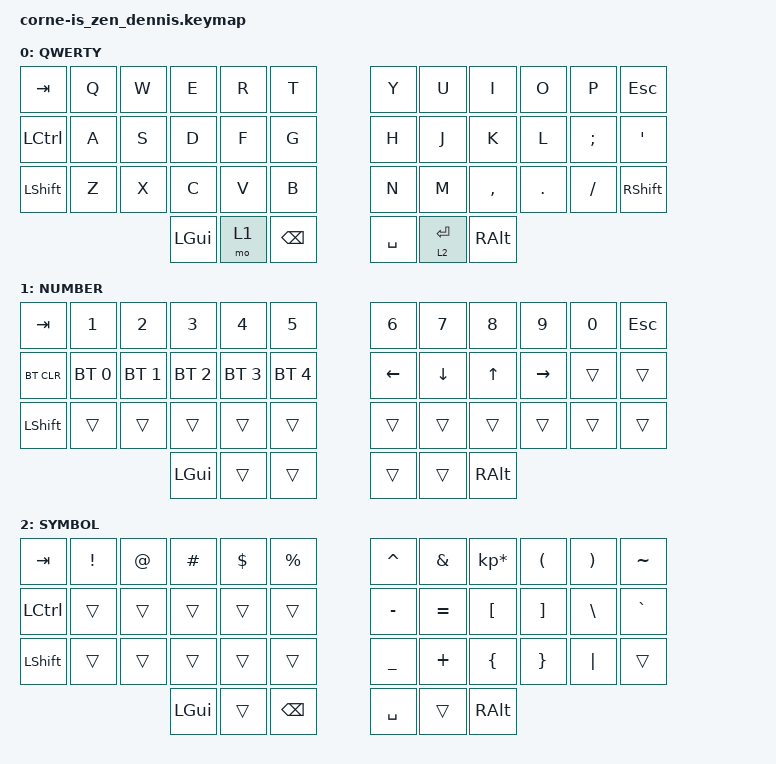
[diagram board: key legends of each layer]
/*
*
* Copyright (c) 2021 Darryl deHaan
* SPDX-License-Identifier: MIT
*
*/

#include <behaviors.dtsi>
#include <dt-bindings/zmk/keys.h>
#include <dt-bindings/zmk/bt.h>
#include <dt-bindings/zmk/outputs.h>


/ {
        combos {
            compatible = "zmk,combos";
            combo_3 {
                timeout-ms = <75>;
                key-positions = <31 32>;
                bindings = <&sl 2>;
            };
            combo_3_right {
                timeout-ms = <75>;
                key-positions = <33 34>;
                bindings = <&sl 2>;
            };
            combo_tab {
                timeout-ms = <75>;
                key-positions = <10 14>;
                bindings = <&kp TAB>;
            };
            combo_esc {
                timeout-ms = <75>;
                key-positions = <0 4>;
                bindings = <&kp ESC>;
                }; 
        };
        keymap {
                compatible = "zmk,keymap";

                default_layer {
                        label = "QWERTY";
// -----------------------------------------------------------------------------------------
// |  TAB |  Q  |  W  |  E  |  R  |  T  |   |  Y  |  U   |  I  |  O  |  P  | BKSP |
// | CTRL |  A  |  S  |  D  |  F  |  G  |   |  H  |  J   |  K  |  L  |  ;  |  '   |
// | SHFT |  Z  |  X  |  C  |  V  |  B  |   |  N  |  M   |  ,  |  .  |  /  | ESC  |
//                    | GUI | LWR | SPC |   | ENT | RSE  | ALT |
                        bindings = <
   &kp TAB   &kp Q &kp W &kp E &kp R &kp T   &kp Y &kp U  &kp I     &kp O   &kp P    &kp ESC
   &kp LCTRL &kp A &kp S &kp D &kp F &kp G   &kp H &kp J  &kp K     &kp L   &kp SEMI &kp SQT
   &kp LSHFT &kp Z &kp X &kp C &kp V &kp B   &kp N &kp M  &kp COMMA &kp DOT &kp FSLH &kp RSHFT
                  &kp LGUI &mo 1 &kp BSPC   &kp SPACE &lt 2 RET &kp RALT
                        >;
                };
                lower_layer {
                        label = "NUMBER";
// -----------------------------------------------------------------------------------------
// |  TAB |  1  |  2  |  3  |  4  |  5  |   |  6  |  7  |  8  |  9  |  0  | BKSP |
// | BTCLR| BT1 | BT2 | BT3 | BT4 | BT5 |   | LFT | DWN |  UP | RGT |     |      |
// | SHFT |     |     |     |     |     |   |     |     |     |     |     |      |
//                    | GUI |     | SPC |   | ENT |     | ALT |
                        bindings = <
   &kp TAB    &kp N1       &kp N2       &kp N3       &kp N4       &kp N5         &kp N6   &kp N7   &kp N8 &kp N9    &kp N0 &kp ESC
   &bt BT_CLR &bt BT_SEL 0 &bt BT_SEL 1 &bt BT_SEL 2 &bt BT_SEL 3 &bt BT_SEL 4   &kp LEFT &kp DOWN &kp UP &kp RIGHT &trans &trans
   &kp LSHFT  &trans       &trans       &trans       &trans       &trans         &trans   &trans   &trans &trans    &trans &trans
                          	        &kp LGUI     &trans       &trans         &trans  &trans   &kp RALT
                        >;
                };

                raise_layer {
                        label = "SYMBOL";
// -----------------------------------------------------------------------------------------
// |  TAB |  !  |  @  |  #  |  $  |  %  |   |  ^  |  &  |  *  |  (  |  )  | BKSP |
// | CTRL |     |     |     |     |     |   |  -  |  =  |  [  |  ]  |  \  |  `   |
// | SHFT |     |     |     |     |     |   |  _  |  +  |  {  |  }  | "|" |  ~   |
//                    | GUI |     | SPC |   | ENT |     | ALT |
                        bindings = <
   &kp  TAB  &kp EXCL &kp AT &kp HASH &kp DLLR &kp PRCNT   &kp CARET &kp AMPS  &kp KP_MULTIPLY &kp LPAR &kp RPAR &kp TILDE
   &kp LCTRL &trans   &trans &trans   &trans   &trans      &kp MINUS &kp EQUAL &kp LBKT        &kp RBKT &kp BSLH &kp GRAVE
   &kp LSHFT &trans   &trans &trans   &trans   &trans      &kp UNDER &kp PLUS  &kp LBRC        &kp RBRC &kp PIPE &trans
                    	     &kp LGUI &trans   &kp BSPC   &kp SPACE   &trans    &kp RALT
                        >;
                };
        };
};
